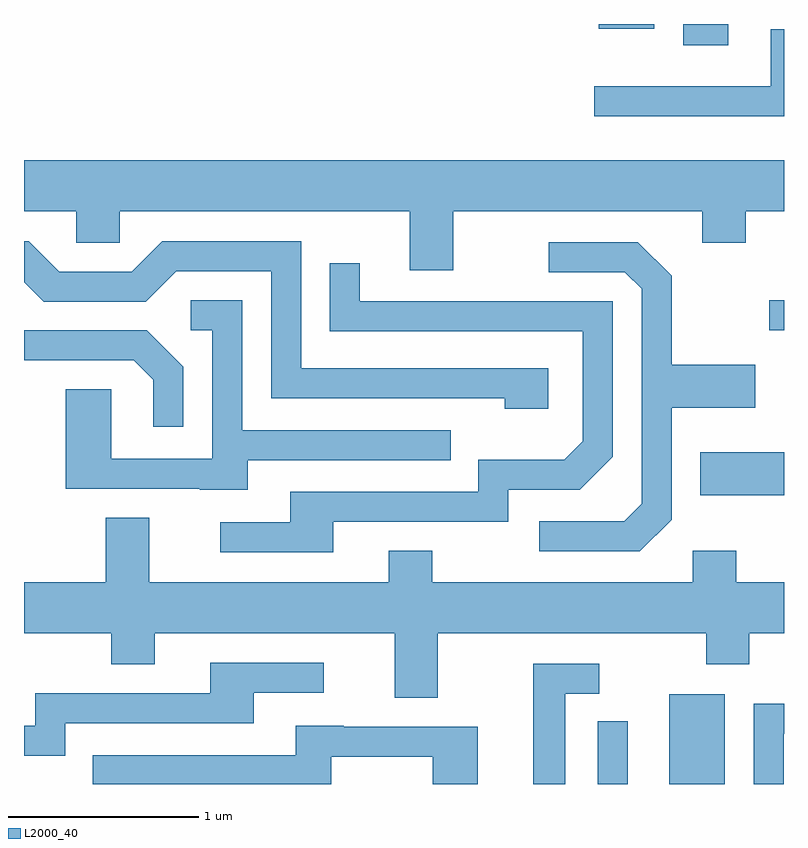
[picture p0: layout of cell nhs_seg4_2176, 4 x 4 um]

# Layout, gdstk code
import gdstk
lib = gdstk.Library(unit=1e-6, precision=1e-09)
def R(c, l, rs):  # rectangles x0, y0, x1, y1
    for r in rs: c.add(gdstk.rectangle(r[:2], r[2:], *l))
def P(c, l, *ps):  # polygons
    for p in ps: c.add(gdstk.Polygon(p, *l))
L2000_40 = (2000, 40)

nhs_seg4_2176 = lib.new_cell('nhs_seg4_2176')
R(nhs_seg4_2176, L2000_40, [(252.631,1253.982,252.789,1254.313), (253.006,1253.982,253.299,1254.454), (253.171,1255.501,253.611,1255.729), (253.533,1256.371,253.611,1256.529), (253.081,1257.871,253.318,1257.982), (252.636,1257.956,252.929,1257.982)])
P(nhs_seg4_2176, L2000_40, [(253.611,1257.954),(253.541,1257.954),(253.541,1257.654),(252.613,1257.654),(252.613,1257.496),(253.611,1257.496)],
  [(251.869,1256.996),(253.181,1256.996),(253.181,1256.831),(253.409,1256.831),(253.409,1256.996),(253.611,1256.996),(253.611,1257.264),(249.611,1257.264),(249.611,1256.996),(249.886,1256.996),(249.886,1256.831),(250.114,1256.831),(250.114,1256.996),(251.641,1256.996),(251.641,1256.686),(251.869,1256.686)],
  [(252.369,1256.169),(251.069,1256.169),(251.069,1256.839),(250.339,1256.839),(250.179,1256.679),(249.797,1256.679),(249.637,1256.839),(249.611,1256.839),(249.611,1256.624),(249.714,1256.521),(250.252,1256.521),(250.412,1256.681),(250.911,1256.681),(250.911,1256.011),(252.141,1256.011),(252.141,1255.956),(252.369,1255.956)],
  [(253.019,1255.374),(253.019,1255.961),(253.459,1255.961),(253.459,1256.189),(253.019,1256.189),(253.019,1256.657),(252.842,1256.834),(252.373,1256.834),(252.373,1256.676),(252.774,1256.676),(252.861,1256.589),(252.861,1255.457),(252.769,1255.364),(252.323,1255.364),(252.323,1255.206),(252.852,1255.206)],
  [(251.239,1255.361),(252.159,1255.361),(252.159,1255.531),(252.537,1255.531),(252.709,1255.704),(252.709,1256.524),(251.379,1256.524),(251.379,1256.723),(251.221,1256.723),(251.221,1256.366),(252.551,1256.366),(252.551,1255.787),(252.454,1255.689),(252.001,1255.689),(252.001,1255.519),(251.011,1255.519),(251.011,1255.359),(250.643,1255.359),(250.643,1255.201),(251.239,1255.201)],
  [(250.789,1255.686),(251.858,1255.686),(251.858,1255.844),(250.759,1255.844),(250.759,1256.529),(250.488,1256.529),(250.488,1256.371),(250.601,1256.371),(250.601,1255.694),(250.069,1255.694),(250.069,1256.059),(249.831,1256.059),(249.831,1255.536),(250.535,1255.536),(250.535,1255.531),(250.789,1255.531)],
  [(250.449,1256.177),(250.257,1256.369),(249.611,1256.369),(249.611,1256.211),(250.189,1256.211),(250.291,1256.109),(250.291,1255.863),(250.449,1255.863)],
  [(250.041,1255.044),(249.611,1255.044),(249.611,1254.776),(250.071,1254.776),(250.071,1254.611),(250.299,1254.611),(250.299,1254.776),(251.561,1254.776),(251.561,1254.436),(251.789,1254.436),(251.789,1254.776),(253.201,1254.776),(253.201,1254.611),(253.429,1254.611),(253.429,1254.776),(253.611,1254.776),(253.611,1255.044),(253.359,1255.044),(253.359,1255.209),(253.131,1255.209),(253.131,1255.044),(251.759,1255.044),(251.759,1255.209),(251.531,1255.209),(251.531,1255.044),(250.269,1255.044),(250.269,1255.384),(250.041,1255.384)],
  [(249.829,1254.301),(250.819,1254.301),(250.819,1254.461),(251.188,1254.461),(251.188,1254.619),(250.591,1254.619),(250.591,1254.459),(249.671,1254.459),(249.671,1254.289),(249.611,1254.289),(249.611,1254.131),(249.829,1254.131)],
  [(252.459,1254.456),(252.638,1254.456),(252.638,1254.614),(252.291,1254.614),(252.291,1253.982),(252.459,1253.982)],
  [(253.609,1254.246),(253.611,1254.246),(253.611,1254.404),(253.451,1254.404),(253.451,1253.982),(253.609,1253.982)],
  [(251.229,1254.126),(251.761,1254.126),(251.761,1253.982),(251.999,1253.982),(251.999,1254.284),(251.295,1254.284),(251.295,1254.289),(251.041,1254.289),(251.041,1254.134),(249.973,1254.134),(249.973,1253.982),(251.229,1253.982)])

lib.write_gds('nhs_seg4_2176.gds')
